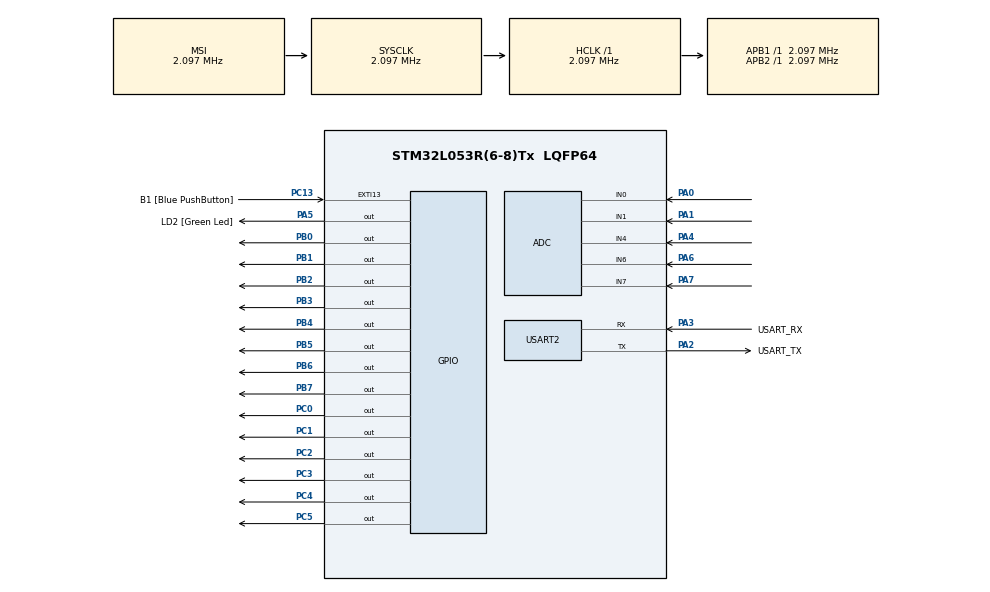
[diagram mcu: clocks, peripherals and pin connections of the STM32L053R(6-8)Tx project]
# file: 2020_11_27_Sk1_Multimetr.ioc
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Mcu.Family=STM32L0
Mcu.Name=STM32L053R(6-8)Tx
Mcu.Package=LQFP64
PA0.Mode=IN0
PA0.Signal=ADC_IN0
PA1.Mode=IN1
PA1.Signal=ADC_IN1
PA13.GPIO_Label=TMS
PA13.Mode=Serial_Wire
PA13.Signal=SYS_SWDIO
PA14.GPIO_Label=TCK
PA14.Mode=Serial_Wire
PA14.Signal=SYS_SWCLK
PA2.GPIO_Label=USART_TX
PA2.Mode=Asynchronous
PA2.Signal=USART2_TX
PA3.GPIO_Label=USART_RX
PA3.Mode=Asynchronous
PA3.Signal=USART2_RX
PA4.Mode=IN4
PA4.Signal=ADC_IN4
PA5.GPIO_Label=LD2 [Green Led]
PA5.Signal=GPIO_Output
PA6.Mode=IN6
PA6.Signal=ADC_IN6
PA7.Mode=IN7
PA7.Signal=ADC_IN7
PB0.Signal=GPIO_Output
PB1.Signal=GPIO_Output
PB2.Signal=GPIO_Output
PB3.Signal=GPIO_Output
PB4.Signal=GPIO_Output
PB5.Signal=GPIO_Output
PB6.Signal=GPIO_Output
PB7.Signal=GPIO_Output
PC0.Signal=GPIO_Output
PC1.Signal=GPIO_Output
PC13.GPIO_Label=B1 [Blue PushButton]
PC13.GPIO_ModeDefaultEXTI=GPIO_MODE_IT_FALLING
PC13.Signal=GPXTI13
PC14-OSC32_IN.Mode=LSE-External-Oscillator
PC14-OSC32_IN.Signal=RCC_OSC32_IN
PC15-OSC32_OUT.Mode=LSE-External-Oscillator
PC15-OSC32_OUT.Signal=RCC_OSC32_OUT
PC2.Signal=GPIO_Output
PC3.Signal=GPIO_Output
PC4.Signal=GPIO_Output
PC5.Signal=GPIO_Output
PH0-OSC_IN.Mode=HSE-External-Clock-Source
PH0-OSC_IN.Signal=RCC_OSC_IN
PH1-OSC_OUT.Signal=RCC_OSC_OUT
ProjectManager.HeapSize=0x200
ProjectManager.StackSize=0x400
ProjectManager.TargetToolchain=STM32CubeIDE
RCC.AHBFreq_Value=2097000
RCC.APB1Freq_Value=2097000
RCC.APB1TimFreq_Value=2097000
RCC.APB2Freq_Value=2097000
RCC.APB2TimFreq_Value=2097000
RCC.HSE_VALUE=8000000
RCC.HSI16_VALUE=16000000
RCC.HSI48_VALUE=48000000
RCC.HSI_VALUE=16000000
RCC.MSI_VALUE=2097000
RCC.SYSCLKFreq_VALUE=2097000
RCC.VCOOutputFreq_Value=48000000
USART2.VirtualMode-Asynchronous=VM_ASYNC
VP_ADC_TempSens_Input.Mode=IN-TempSens
board=NUCLEO-L053R8

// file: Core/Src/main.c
/* USER CODE BEGIN Header */
/**
  ******************************************************************************
  * @file           : main.c
  * @brief          : Main program body
  ******************************************************************************
  * @attention
  *
  * <h2><center>&copy; Copyright (c) 2020 STMicroelectronics.
  * All rights reserved.</center></h2>
  *
  * This software component is licensed by ST under BSD 3-Clause license,
  * the "License"; You may not use this file except in compliance with the
  * License. You may obtain a copy of the License at:
  *                        opensource.org/licenses/BSD-3-Clause
  *
  ******************************************************************************
  */
/* USER CODE END Header */
#include <stdio.h>

#include "main.h"

/* USER CODE BEGIN Includes */
#include "lcd.h"
/* USER CODE END Includes */

ADC_HandleTypeDef hadc;

UART_HandleTypeDef huart2;

/* USER CODE BEGIN PV */

uint8_t vyber_vstup_AD[] = {ADC_CHANNEL_0, ADC_CHANNEL_1, ADC_CHANNEL_4, ADC_CHANNEL_6, ADC_CHANNEL_6, ADC_TEMP_SENSOR};
uint16_t hodnota_AD;

/* USER CODE END PV */

void SystemClock_Config(void);
static void MX_GPIO_Init(void);
static void MX_USART2_UART_Init(void);
static void MX_ADC_Init(void);

/* USER CODE BEGIN 0 */

	uint16_t HAL_GPIO_ReadPort(GPIO_TypeDef * GPIOx)
	{
		uint16_t port_hodn = 0;
		uint16_t pin_position = GPIO_PIN_0;

		for(int i = 0; i<15; i++)
		{
			if(HAL_GPIO_ReadPort(GPIOx, pin_position) == GPIO_PIN_SET)
			{
				port_hodn =| pin_position;
			}
			pin_pozice bitovy posun vlevo
		}
		//return GPIOx->IDR
	}

/* USER CODE END 0 */

int main(void)
{
  /* USER CODE BEGIN 1 */
	GPIO_InitTypeDef GPIOB_InitStruct_Input = {0};
	GPIO_InitTypeDef GPIOB_InitStruct_Output = {0};
	uint8_t tlac = 0x00, tlac_pred = 0xFF, tlac_akt;
	uint8_t vstup_AD = 0x00, vstup_AD_pred = 0x00;

	char vystup_lcd[17];
  /* USER CODE END 1 */

  /* MCU Configuration--------------------------------------------------------*/

  /* Reset of all peripherals, Initializes the Flash interface and the Systick. */
  HAL_Init();

  /* USER CODE BEGIN Init */
  GPIOB_InitStruct_Input.Pin = GPIO_PIN_0|GPIO_PIN_1|GPIO_PIN_2|GPIO_PIN_3
  	  	                            |GPIO_PIN_4|GPIO_PIN_5|GPIO_PIN_6|GPIO_PIN_7;
  GPIOB_InitStruct_Input.Mode = GPIO_MODE_OUTPUT_PP;
  GPIOB_InitStruct_Input.Pull = GPIO_NOPULL;
  GPIOB_InitStruct_Input.Speed = GPIO_SPEED_FREQ_LOW;

  GPIOB_InitStruct_Output.Pin = GPIO_PIN_0|GPIO_PIN_1|GPIO_PIN_2|GPIO_PIN_3
  	                            |GPIO_PIN_4|GPIO_PIN_5|GPIO_PIN_6|GPIO_PIN_7;
  GPIOB_InitStruct_Output.Mode = GPIO_MODE_INPUT;
  GPIOB_InitStruct_Output.Pull = GPIO_NOPULL;
  GPIOB_InitStruct_Output.Speed = GPIO_SPEED_FREQ_LOW;
  /* USER CODE END Init */

  /* Configure the system clock */
  SystemClock_Config();

  /* Initialize all configured peripherals */
  MX_GPIO_Init();
  MX_USART2_UART_Init();
  MX_ADC_Init();
  /* USER CODE BEGIN 2 */
  lcd_init();

  /* USER CODE END 2 */

  /* Infinite loop */

  while (1)
  {
	/* USER CODE BEGIN WHILE */

	//kdyz jsou nejaka data na uart
	  //precti jeden znak
	  //kdyz znak ve pozadovanem rozsahu
	    //podle prijateho znaku urcime vstup AD prevodniku

	//prepneme GPIOB<7:0> do vstupniho rezimu
	  /*Configure GPIO pins : PB0 PB1 PB2 PB3
	  	                             PB4 PB5 PB6 PB7 */
	  	    HAL_GPIO_Init(GPIOB, &GPIOB_InitStruct_Input);
	//zjistime zda je stisknute nejake nove tlacitko
	  	  tlac_akt = HAL_GPIO_ReadPort(GPIOB);
	  	  tlac = ~(tlac_akt) & tlac_pred;
	  	  tlac_pred = tlac_akt;

	//podle stisknuteho tlacitka urcime vstup AD prevodniku
	  	  uint8_t maska = 0b1;
	  	  for(int i=0;i<7;i++)
	  	  {
	  		if(tlac & maska)
	  		{
	  			vstup_AD = i;
	  			break;
	  		}
	  		maska bitovy posun vlevo;
	  	  }

	//prepneme GPIOB<7:0> do vystupniho rezimu

	  /*Configure GPIO pins : PB0 PB1 PB2 PB3
	                             PB4 PB5 PB6 PB7 */

	    HAL_GPIO_Init(GPIOB, &GPIOB_InitStruct_Output);

	//pokud se meni vstup AD predniku
	    ADC_ChannelConfTypeDef sConfig = {0};
	  //deaktivujeme predchozi vstup
	    sConfig.Channel = vyber_kanal_AD[vstup_AD_pred];

	    	      sConfig.Rank = ADC_RANK_NONE;
	    	      if (HAL_ADC_ConfigChannel(&hadc, &sConfig) != HAL_OK)
	    	      {
	    	        Error_Handler();
	    	      }
	  //aktivujeme novy vstup

	      sConfig.Channel = vyber_kanal_AD[vstup_AD];

	      sConfig.Rank = ADC_RANK_CHANNEL_NUMBER;
	      if (HAL_ADC_ConfigChannel(&hadc, &sConfig) != HAL_OK)
	      {
	        Error_Handler();
	      }

	      vstup_AD_pred = vstup_AD;

	//spustime AD prevod
	      if(HAL_StatusTypeDef HAL_ADC_Start_IT (&hadc)!= HAL_OK)
	      {
	        Error_Handler();
	      }
	//pockame na dokonceni AD prevodu
	      if(HAL_StatusTypeDef HAL_ADC_PollForConversion
	      (&hadc, 50)!= HAL_OK)
	      {
	        Error_Handler();
	      }
	//precteme hodmotu AD prevodu
	      hodnota_AD = HAL_ADC_GetValue (&hadc);
	//vypneme AD prevodnik
	      if(HAL_StatusTypeDef HAL_ADC_Stop_IT (&hadc)!= HAL_OK)
	      {
	        Error_Handler();
	      }

	//prevedeme zmerenou hodnotu na retezec
	      sprintf(vystup_lcd, "%04u", hodnota_AD);
	//zobrazime prevedenou hodnotu na lcd
	      lcd_write(1,0,vystup_lcd);

	//posleme prevedenou hodnotu pomoci uart do PC

    /* USER CODE END WHILE */
  }
}

void SystemClock_Config(void)
{
  RCC_OscInitTypeDef RCC_OscInitStruct = {0};
  RCC_ClkInitTypeDef RCC_ClkInitStruct = {0};
  RCC_PeriphCLKInitTypeDef PeriphClkInit = {0};

  /** Configure the main internal regulator output voltage
  */
  __HAL_PWR_VOLTAGESCALING_CONFIG(PWR_REGULATOR_VOLTAGE_SCALE1);
  /** Initializes the RCC Oscillators according to the specified parameters
  * in the RCC_OscInitTypeDef structure.
  */
  RCC_OscInitStruct.OscillatorType = RCC_OSCILLATORTYPE_MSI;
  RCC_OscInitStruct.MSIState = RCC_MSI_ON;
  RCC_OscInitStruct.MSICalibrationValue = 0;
  RCC_OscInitStruct.MSIClockRange = RCC_MSIRANGE_5;
  RCC_OscInitStruct.PLL.PLLState = RCC_PLL_NONE;
  if (HAL_RCC_OscConfig(&RCC_OscInitStruct) != HAL_OK)
  {
    Error_Handler();
  }
  /** Initializes the CPU, AHB and APB buses clocks
  */
  RCC_ClkInitStruct.ClockType = RCC_CLOCKTYPE_HCLK|RCC_CLOCKTYPE_SYSCLK
                              |RCC_CLOCKTYPE_PCLK1|RCC_CLOCKTYPE_PCLK2;
  RCC_ClkInitStruct.SYSCLKSource = RCC_SYSCLKSOURCE_MSI;
  RCC_ClkInitStruct.AHBCLKDivider = RCC_SYSCLK_DIV1;
  RCC_ClkInitStruct.APB1CLKDivider = RCC_HCLK_DIV1;
  RCC_ClkInitStruct.APB2CLKDivider = RCC_HCLK_DIV1;

  if (HAL_RCC_ClockConfig(&RCC_ClkInitStruct, FLASH_LATENCY_0) != HAL_OK)
  {
    Error_Handler();
  }
  PeriphClkInit.PeriphClockSelection = RCC_PERIPHCLK_USART2;
  PeriphClkInit.Usart2ClockSelection = RCC_USART2CLKSOURCE_PCLK1;
  if (HAL_RCCEx_PeriphCLKConfig(&PeriphClkInit) != HAL_OK)
  {
    Error_Handler();
  }
}

static void MX_ADC_Init(void)
{

  ADC_ChannelConfTypeDef sConfig = {0};

  /** Configure the global features of the ADC (Clock, Resolution, Data Alignment and number of conversion)
  */
  hadc.Instance = ADC1;
  hadc.Init.OversamplingMode = DISABLE;
  hadc.Init.ClockPrescaler = ADC_CLOCK_SYNC_PCLK_DIV1;
  hadc.Init.Resolution = ADC_RESOLUTION_12B;
  hadc.Init.SamplingTime = ADC_SAMPLETIME_1CYCLE_5;
  hadc.Init.ScanConvMode = ADC_SCAN_DIRECTION_FORWARD;
  hadc.Init.DataAlign = ADC_DATAALIGN_RIGHT;
  hadc.Init.ContinuousConvMode = DISABLE;
  hadc.Init.DiscontinuousConvMode = DISABLE;
  hadc.Init.ExternalTrigConvEdge = ADC_EXTERNALTRIGCONVEDGE_NONE;
  hadc.Init.ExternalTrigConv = ADC_SOFTWARE_START;
  hadc.Init.DMAContinuousRequests = DISABLE;
  hadc.Init.EOCSelection = ADC_EOC_SINGLE_CONV;
  hadc.Init.Overrun = ADC_OVR_DATA_PRESERVED;
  hadc.Init.LowPowerAutoWait = DISABLE;
  hadc.Init.LowPowerFrequencyMode = ENABLE;
  hadc.Init.LowPowerAutoPowerOff = DISABLE;
  if (HAL_ADC_Init(&hadc) != HAL_OK)
  {
    Error_Handler();
  }
  /** Configure for the selected ADC regular channel to be converted.
  */
  sConfig.Channel = ADC_CHANNEL_0;
  sConfig.Rank = ADC_RANK_CHANNEL_NUMBER;
  if (HAL_ADC_ConfigChannel(&hadc, &sConfig) != HAL_OK)
  {
    Error_Handler();
  }
  /** Configure for the selected ADC regular channel to be converted.
  */
//  sConfig.Channel = ADC_CHANNEL_1;
//  if (HAL_ADC_ConfigChannel(&hadc, &sConfig) != HAL_OK)
//  {
//    Error_Handler();
//  }
//  /** Configure for the selected ADC regular channel to be converted.
//  */
//  sConfig.Channel = ADC_CHANNEL_4;
//  if (HAL_ADC_ConfigChannel(&hadc, &sConfig) != HAL_OK)
//  {
//    Error_Handler();
//  }
//  /** Configure for the selected ADC regular channel to be converted.
//  */
//  sConfig.Channel = ADC_CHANNEL_6;
//  if (HAL_ADC_ConfigChannel(&hadc, &sConfig) != HAL_OK)
//  {
//    Error_Handler();
//  }
//  /** Configure for the selected ADC regular channel to be converted.
//  */
//  sConfig.Channel = ADC_CHANNEL_7;
//  if (HAL_ADC_ConfigChannel(&hadc, &sConfig) != HAL_OK)
//  {
//    Error_Handler();
//  }
  /** Configure for the selected ADC regular channel to be converted.
  */
  sConfig.Channel = ADC_CHANNEL_TEMPSENSOR;
  if (HAL_ADC_ConfigChannel(&hadc, &sConfig) != HAL_OK)
  {
    Error_Handler();
  }

}

static void MX_USART2_UART_Init(void)
{

  huart2.Instance = USART2;
  huart2.Init.BaudRate = 115200;
  huart2.Init.WordLength = UART_WORDLENGTH_8B;
  huart2.Init.StopBits = UART_STOPBITS_1;
  huart2.Init.Parity = UART_PARITY_NONE;
  huart2.Init.Mode = UART_MODE_TX_RX;
  huart2.Init.HwFlowCtl = UART_HWCONTROL_NONE;
  huart2.Init.OverSampling = UART_OVERSAMPLING_16;
  huart2.Init.OneBitSampling = UART_ONE_BIT_SAMPLE_DISABLE;
  huart2.AdvancedInit.AdvFeatureInit = UART_ADVFEATURE_NO_INIT;
  if (HAL_UART_Init(&huart2) != HAL_OK)
  {
    Error_Handler();
  }

}

static void MX_GPIO_Init(void)
{
  GPIO_InitTypeDef GPIO_InitStruct = {0};

  /* GPIO Ports Clock Enable */
  __HAL_RCC_GPIOC_CLK_ENABLE();
  __HAL_RCC_GPIOH_CLK_ENABLE();
  __HAL_RCC_GPIOA_CLK_ENABLE();
  __HAL_RCC_GPIOB_CLK_ENABLE();

  /*Configure GPIO pin Output Level */
  HAL_GPIO_WritePin(GPIOC, GPIO_PIN_0|GPIO_PIN_1|GPIO_PIN_2|GPIO_PIN_3
                          |GPIO_PIN_4|GPIO_PIN_5, GPIO_PIN_RESET);

  /*Configure GPIO pin Output Level */
  HAL_GPIO_WritePin(LD2_GPIO_Port, LD2_Pin, GPIO_PIN_RESET);

  /*Configure GPIO pin Output Level */
  HAL_GPIO_WritePin(GPIOB, GPIO_PIN_0|GPIO_PIN_1|GPIO_PIN_2|GPIO_PIN_3
                          |GPIO_PIN_4|GPIO_PIN_5|GPIO_PIN_6|GPIO_PIN_7, GPIO_PIN_RESET);

  /*Configure GPIO pin : B1_Pin */
  GPIO_InitStruct.Pin = B1_Pin;
  GPIO_InitStruct.Mode = GPIO_MODE_IT_FALLING;
  GPIO_InitStruct.Pull = GPIO_NOPULL;
  HAL_GPIO_Init(B1_GPIO_Port, &GPIO_InitStruct);

  /*Configure GPIO pins : PC0 PC1 PC2 PC3
                           PC4 PC5 */
  GPIO_InitStruct.Pin = GPIO_PIN_0|GPIO_PIN_1|GPIO_PIN_2|GPIO_PIN_3
                          |GPIO_PIN_4|GPIO_PIN_5;
  GPIO_InitStruct.Mode = GPIO_MODE_OUTPUT_PP;
  GPIO_InitStruct.Pull = GPIO_NOPULL;
  GPIO_InitStruct.Speed = GPIO_SPEED_FREQ_LOW;
  HAL_GPIO_Init(GPIOC, &GPIO_InitStruct);

  /*Configure GPIO pin : LD2_Pin */
  GPIO_InitStruct.Pin = LD2_Pin;
  GPIO_InitStruct.Mode = GPIO_MODE_OUTPUT_PP;
  GPIO_InitStruct.Pull = GPIO_NOPULL;
  GPIO_InitStruct.Speed = GPIO_SPEED_FREQ_LOW;
  HAL_GPIO_Init(LD2_GPIO_Port, &GPIO_InitStruct);

  /*Configure GPIO pins : PB0 PB1 PB2 PB3
                           PB4 PB5 PB6 PB7 */
  GPIO_InitStruct.Pin = GPIO_PIN_0|GPIO_PIN_1|GPIO_PIN_2|GPIO_PIN_3
                          |GPIO_PIN_4|GPIO_PIN_5|GPIO_PIN_6|GPIO_PIN_7;
  GPIO_InitStruct.Mode = GPIO_MODE_OUTPUT_PP;
  GPIO_InitStruct.Pull = GPIO_NOPULL;
  GPIO_InitStruct.Speed = GPIO_SPEED_FREQ_LOW;
  HAL_GPIO_Init(GPIOB, &GPIO_InitStruct);

}

void Error_Handler(void)
{
  __disable_irq();
  while (1)
  {
  }
}

/************************ (C) COPYRIGHT STMicroelectronics *****END OF FILE****/
